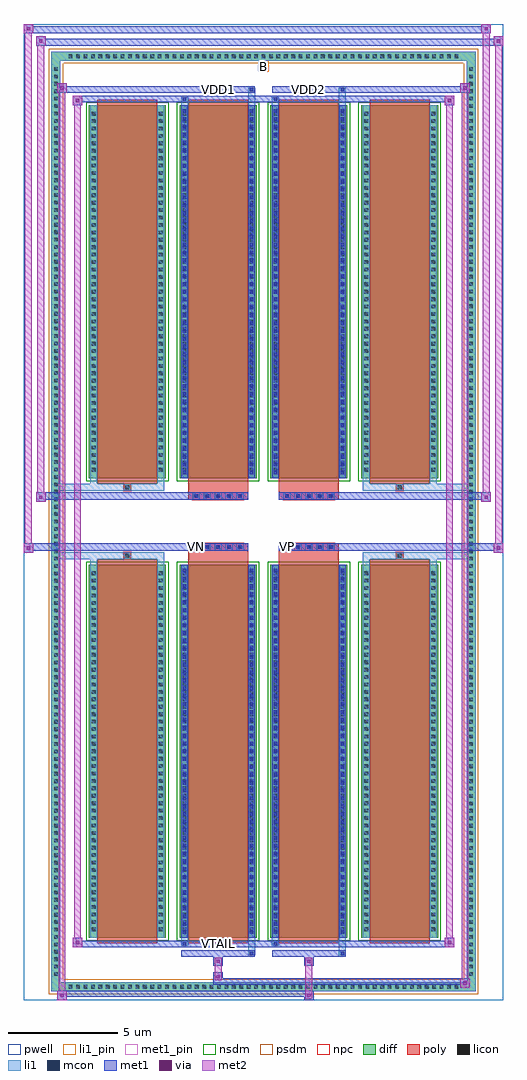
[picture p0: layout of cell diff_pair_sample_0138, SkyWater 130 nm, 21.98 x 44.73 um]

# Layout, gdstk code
import gdstk
lib = gdstk.Library(unit=1e-6, precision=5e-09)
def R(c, l, rs):  # rectangles x0, y0, x1, y1
    for r in rs: c.add(gdstk.rectangle(r[:2], r[2:], *l))
def A(c, l, x, y, w, h, nx, ny, dx, dy):  # array of equal rectangles
    R(c, l, [(x+i*dx, y+j*dy, x+i*dx+w, y+j*dy+h) for i in range(nx) for j in range(ny)])
def P(c, l, *ps):  # polygons
    for p in ps: c.add(gdstk.Polygon(p, *l))
pwell = (64, 44)
diff = (65, 20)
poly = (66, 20)
licon = (66, 44)
li1_pin = (67, 16)
li1 = (67, 20)
mcon = (67, 44)
met1_pin = (68, 16)
met1 = (68, 20)
via = (68, 44)
met2 = (69, 20)
nsdm = (93, 44)
psdm = (94, 20)
npc = (95, 20)

diff_pair_sample_0138 = lib.new_cell('diff_pair_sample_0138')
R(diff_pair_sample_0138, pwell, [(-10.99,-21.93,10.99,22.8), (-8.31,-20.12,-0.01,-0.8), (0.01,-20.12,8.31,-0.8), (-8.31,0.8,-0.01,20.12), (0.01,0.8,8.31,20.12)])
A(diff_pair_sample_0138, diff, -9.045, -21.53, 0.41, 0.41, 53, 2, 0.34, 42.65)
A(diff_pair_sample_0138, diff, -9.72, -20.945, 0.41, 0.41, 1, 123, 0, 0.34)
A(diff_pair_sample_0138, diff, 9.31, -20.945, 0.41, 0.41, 1, 123, 0, 0.34)
A(diff_pair_sample_0138, diff, -8, -19.075, 3.52, 17.09, 4, 2, 4.16, 21.06)
R(diff_pair_sample_0138, diff, [(-9.045,-21.53,9.045,-21.12), (-9.72,-20.945,-9.31,20.945), (9.31,-20.945,9.72,20.945), (-9.045,21.12,9.045,21.53)])
P(diff_pair_sample_0138, diff, [(9.72,21.53),(-9.72,21.53),(-9.72,-21.12),(-9.31,-21.12),(-9.31,21.12),(9.31,21.12),(9.31,-21.12),(-9.31,-21.12),(-9.72,-21.12),(-9.72,-21.53),(9.72,-21.53)])
A(diff_pair_sample_0138, poly, -7.61, -19.325, 2.74, 17.59, 4, 2, 4.16, 21.06)
A(diff_pair_sample_0138, poly, -3.245, -1.33, 0.33, 0.33, 5, 2, 0.5, 2.33)
A(diff_pair_sample_0138, poly, 0.915, -1.33, 0.33, 0.33, 5, 2, 0.5, 2.33)
R(diff_pair_sample_0138, poly, [(-6.405,-1.735,-6.075,-1.405), (-6.405,-1.735,-6.075,-1.405), (-3.45,-1.735,-0.71,-1.33), (0.71,-1.735,3.45,-1.33), (6.075,-1.735,6.405,-1.405), (6.075,-1.735,6.405,-1.405), (-3.45,-1.33,-0.71,-1), (0.71,-1.33,3.45,-1), (-3.45,1,-0.71,1.33), (0.71,1,3.45,1.33), (-3.45,1.33,-0.71,1.735), (0.71,1.33,3.45,1.735), (-6.405,1.405,-6.075,1.735), (-6.405,1.405,-6.075,1.735), (6.075,1.405,6.405,1.735), (6.075,1.405,6.405,1.735)])
A(diff_pair_sample_0138, licon, -8.925, -21.41, 0.17, 0.17, 53, 2, 0.34, 42.65)
A(diff_pair_sample_0138, licon, -9.6, -20.825, 0.17, 0.17, 1, 123, 0, 0.34)
A(diff_pair_sample_0138, licon, 9.43, -20.825, 0.17, 0.17, 1, 123, 0, 0.34)
A(diff_pair_sample_0138, licon, -7.86, -18.775, 0.17, 0.17, 1, 49, 0, 0.34)
A(diff_pair_sample_0138, licon, -4.79, -18.775, 0.17, 0.17, 1, 49, 0, 0.34)
A(diff_pair_sample_0138, licon, -3.7, -18.775, 0.17, 0.17, 1, 49, 0, 0.34)
A(diff_pair_sample_0138, licon, -0.63, -18.775, 0.17, 0.17, 1, 49, 0, 0.34)
A(diff_pair_sample_0138, licon, 0.46, -18.775, 0.17, 0.17, 1, 49, 0, 0.34)
A(diff_pair_sample_0138, licon, 3.53, -18.775, 0.17, 0.17, 1, 49, 0, 0.34)
A(diff_pair_sample_0138, licon, 4.62, -18.775, 0.17, 0.17, 1, 49, 0, 0.34)
A(diff_pair_sample_0138, licon, 7.69, -18.775, 0.17, 0.17, 1, 49, 0, 0.34)
A(diff_pair_sample_0138, licon, -3.165, -1.25, 0.17, 0.17, 5, 2, 0.5, 2.33)
A(diff_pair_sample_0138, licon, 0.995, -1.25, 0.17, 0.17, 5, 2, 0.5, 2.33)
A(diff_pair_sample_0138, licon, -7.86, 2.285, 0.17, 0.17, 1, 49, 0, 0.34)
A(diff_pair_sample_0138, licon, -4.79, 2.285, 0.17, 0.17, 1, 49, 0, 0.34)
A(diff_pair_sample_0138, licon, -3.7, 2.285, 0.17, 0.17, 1, 49, 0, 0.34)
A(diff_pair_sample_0138, licon, -0.63, 2.285, 0.17, 0.17, 1, 49, 0, 0.34)
A(diff_pair_sample_0138, licon, 0.46, 2.285, 0.17, 0.17, 1, 49, 0, 0.34)
A(diff_pair_sample_0138, licon, 3.53, 2.285, 0.17, 0.17, 1, 49, 0, 0.34)
A(diff_pair_sample_0138, licon, 4.62, 2.285, 0.17, 0.17, 1, 49, 0, 0.34)
A(diff_pair_sample_0138, licon, 7.69, 2.285, 0.17, 0.17, 1, 49, 0, 0.34)
R(diff_pair_sample_0138, licon, [(-6.325,-1.655,-6.155,-1.485), (6.155,-1.655,6.325,-1.485), (-6.325,1.485,-6.155,1.655), (6.155,1.485,6.325,1.655)])
R(diff_pair_sample_0138, li1_pin, [(-0.25,20.62,0.25,21.12)])
A(diff_pair_sample_0138, li1, -9.005, -21.49, 0.33, 0.33, 53, 2, 0.34, 42.65)
A(diff_pair_sample_0138, li1, -9.68, -20.905, 0.33, 0.33, 1, 123, 0, 0.34)
A(diff_pair_sample_0138, li1, 9.35, -20.905, 0.33, 0.33, 1, 123, 0, 0.34)
A(diff_pair_sample_0138, li1, -3.7, -18.895, 0.17, 0.17, 1, 47, 0, 0.36)
A(diff_pair_sample_0138, li1, -0.63, -18.895, 0.17, 0.17, 1, 47, 0, 0.36)
A(diff_pair_sample_0138, li1, 0.46, -18.895, 0.17, 0.17, 1, 47, 0, 0.36)
A(diff_pair_sample_0138, li1, 3.53, -18.895, 0.17, 0.17, 1, 47, 0, 0.36)
A(diff_pair_sample_0138, li1, -7.94, -18.855, 0.33, 0.33, 1, 49, 0, 0.34)
A(diff_pair_sample_0138, li1, -4.87, -18.855, 0.33, 0.33, 1, 49, 0, 0.34)
A(diff_pair_sample_0138, li1, -3.78, -18.855, 0.33, 0.33, 1, 49, 0, 0.34)
A(diff_pair_sample_0138, li1, -0.71, -18.855, 0.33, 0.33, 1, 49, 0, 0.34)
A(diff_pair_sample_0138, li1, 0.38, -18.855, 0.33, 0.33, 1, 49, 0, 0.34)
A(diff_pair_sample_0138, li1, 3.45, -18.855, 0.33, 0.33, 1, 49, 0, 0.34)
A(diff_pair_sample_0138, li1, 4.54, -18.855, 0.33, 0.33, 1, 49, 0, 0.34)
A(diff_pair_sample_0138, li1, 7.61, -18.855, 0.33, 0.33, 1, 49, 0, 0.34)
A(diff_pair_sample_0138, li1, -3.245, -1.33, 0.33, 0.33, 5, 2, 0.5, 2.33)
A(diff_pair_sample_0138, li1, 0.915, -1.33, 0.33, 0.33, 5, 2, 0.5, 2.33)
A(diff_pair_sample_0138, li1, -3.7, 2.165, 0.17, 0.17, 1, 47, 0, 0.36)
A(diff_pair_sample_0138, li1, -0.63, 2.165, 0.17, 0.17, 1, 47, 0, 0.36)
A(diff_pair_sample_0138, li1, 0.46, 2.165, 0.17, 0.17, 1, 47, 0, 0.36)
A(diff_pair_sample_0138, li1, 3.53, 2.165, 0.17, 0.17, 1, 47, 0, 0.36)
A(diff_pair_sample_0138, li1, -7.94, 2.205, 0.33, 0.33, 1, 49, 0, 0.34)
A(diff_pair_sample_0138, li1, -4.87, 2.205, 0.33, 0.33, 1, 49, 0, 0.34)
A(diff_pair_sample_0138, li1, -3.78, 2.205, 0.33, 0.33, 1, 49, 0, 0.34)
A(diff_pair_sample_0138, li1, -0.71, 2.205, 0.33, 0.33, 1, 49, 0, 0.34)
A(diff_pair_sample_0138, li1, 0.38, 2.205, 0.33, 0.33, 1, 49, 0, 0.34)
A(diff_pair_sample_0138, li1, 3.45, 2.205, 0.33, 0.33, 1, 49, 0, 0.34)
A(diff_pair_sample_0138, li1, 4.54, 2.205, 0.33, 0.33, 1, 49, 0, 0.34)
A(diff_pair_sample_0138, li1, 7.61, 2.205, 0.33, 0.33, 1, 49, 0, 0.34)
R(diff_pair_sample_0138, li1, [(-9.72,-21.53,-9.31,-21.12), (-9.72,-21.53,-9.31,-21.12), (-9.31,-21.53,9.31,-21.12), (9.31,-21.53,9.72,-21.12), (9.31,-21.53,9.72,-21.12), (-9.72,-21.12,-9.31,21.12), (9.31,-21.12,9.72,21.12), (-0.71,-19.88,-0.38,-19.075), (-0.63,-19.88,-0.46,-19.71), (3.45,-19.88,3.78,-19.075), (3.53,-19.88,3.7,-19.71), (-3.78,-19.45,-3.45,-19.075), (-3.7,-19.45,-3.53,-19.28), (0.38,-19.45,0.71,-19.075), (0.46,-19.45,0.63,-19.28), (-7.94,-19.075,-7.61,-1.985), (-4.87,-19.075,-4.54,-1.985), (-3.78,-19.075,-3.45,-1.985), (-0.71,-19.075,-0.38,-1.985), (0.38,-19.075,0.71,-1.985), (3.45,-19.075,3.78,-1.985), (4.54,-19.075,4.87,-1.985), (7.61,-19.075,7.94,-1.985), (-3.7,-18.895,-3.53,-2.165), (-0.63,-18.895,-0.46,-2.165), (0.46,-18.895,0.63,-2.165), (3.53,-18.895,3.7,-2.165), (-7.94,-1.985,-7.61,-1.405), (-4.87,-1.985,-4.54,-1.405), (4.54,-1.985,4.87,-1.405), (7.61,-1.985,7.94,-1.405), (-9.72,-1.735,-6.405,-1.405), (-7.94,-1.735,-6.405,-1.405), (-6.405,-1.735,-6.075,-1.405), (-6.075,-1.735,-4.54,-1.405), (4.54,-1.735,6.075,-1.405), (6.075,-1.735,6.405,-1.405), (6.075,-1.735,9.72,-1.405), (6.405,-1.735,7.94,-1.405), (-9.72,1.405,-6.405,1.735), (-7.94,1.405,-6.405,1.735), (-7.94,1.405,-7.61,1.985), (-6.405,1.405,-6.075,1.735), (-6.075,1.405,-4.54,1.735), (-4.87,1.405,-4.54,1.985), (4.54,1.405,6.075,1.735), (4.54,1.405,4.87,1.985), (6.075,1.405,6.405,1.735), (6.075,1.405,9.72,1.735), (6.405,1.405,7.94,1.735), (7.61,1.405,7.94,1.985), (-7.94,1.985,-7.61,19.075), (-4.87,1.985,-4.54,19.075), (-3.78,1.985,-3.45,19.075), (-0.71,1.985,-0.38,19.075), (0.38,1.985,0.71,19.075), (3.45,1.985,3.78,19.075), (4.54,1.985,4.87,19.075), (7.61,1.985,7.94,19.075), (-3.7,2.165,-3.53,18.895), (-0.63,2.165,-0.46,18.895), (0.46,2.165,0.63,18.895), (3.53,2.165,3.7,18.895), (-3.78,19.075,-3.45,19.45), (-0.71,19.075,-0.38,19.88), (0.38,19.075,0.71,19.45), (3.45,19.075,3.78,19.88), (-3.7,19.28,-3.53,19.45), (0.46,19.28,0.63,19.45), (-0.63,19.71,-0.46,19.88), (3.53,19.71,3.7,19.88), (-9.72,21.12,-9.31,21.53), (-9.72,21.12,-9.31,21.53), (-9.31,21.12,9.31,21.53), (9.31,21.12,9.72,21.53), (9.31,21.12,9.72,21.53)])
A(diff_pair_sample_0138, mcon, -3.7, -18.895, 0.17, 0.17, 1, 47, 0, 0.36)
A(diff_pair_sample_0138, mcon, -0.63, -18.895, 0.17, 0.17, 1, 47, 0, 0.36)
A(diff_pair_sample_0138, mcon, 0.46, -18.895, 0.17, 0.17, 1, 47, 0, 0.36)
A(diff_pair_sample_0138, mcon, 3.53, -18.895, 0.17, 0.17, 1, 47, 0, 0.36)
A(diff_pair_sample_0138, mcon, -3.165, -1.25, 0.17, 0.17, 5, 2, 0.5, 2.33)
A(diff_pair_sample_0138, mcon, 0.995, -1.25, 0.17, 0.17, 5, 2, 0.5, 2.33)
A(diff_pair_sample_0138, mcon, -3.7, 2.165, 0.17, 0.17, 1, 47, 0, 0.36)
A(diff_pair_sample_0138, mcon, -0.63, 2.165, 0.17, 0.17, 1, 47, 0, 0.36)
A(diff_pair_sample_0138, mcon, 0.46, 2.165, 0.17, 0.17, 1, 47, 0, 0.36)
A(diff_pair_sample_0138, mcon, 3.53, 2.165, 0.17, 0.17, 1, 47, 0, 0.36)
R(diff_pair_sample_0138, mcon, [(-0.63,-19.88,-0.46,-19.71), (3.53,-19.88,3.7,-19.71), (-3.7,-19.45,-3.53,-19.28), (0.46,-19.45,0.63,-19.28), (-3.7,19.28,-3.53,19.45), (0.46,19.28,0.63,19.45), (-0.63,19.71,-0.46,19.88), (3.53,19.71,3.7,19.88)])
R(diff_pair_sample_0138, met1_pin, [(-2.215,-19.49,-1.945,-19.22), (-3.215,-1.29,-2.945,-1.02), (0.945,-1.29,1.215,-1.02), (-2.215,19.67,-1.945,19.94), (1.945,19.67,2.215,19.94)])
A(diff_pair_sample_0138, met1, -3.76, -18.955, 0.29, 0.29, 1, 47, 0, 0.36)
A(diff_pair_sample_0138, met1, -0.69, -18.955, 0.29, 0.29, 1, 47, 0, 0.36)
A(diff_pair_sample_0138, met1, 0.4, -18.955, 0.29, 0.29, 1, 47, 0, 0.36)
A(diff_pair_sample_0138, met1, 3.47, -18.955, 0.29, 0.29, 1, 47, 0, 0.36)
A(diff_pair_sample_0138, met1, -3.225, -1.31, 0.29, 0.29, 5, 2, 0.5, 2.33)
A(diff_pair_sample_0138, met1, 0.935, -1.31, 0.29, 0.29, 5, 2, 0.5, 2.33)
A(diff_pair_sample_0138, met1, -3.76, 2.105, 0.29, 0.29, 1, 47, 0, 0.36)
A(diff_pair_sample_0138, met1, -0.69, 2.105, 0.29, 0.29, 1, 47, 0, 0.36)
A(diff_pair_sample_0138, met1, 0.4, 2.105, 0.29, 0.29, 1, 47, 0, 0.36)
A(diff_pair_sample_0138, met1, 3.47, 2.105, 0.29, 0.29, 1, 47, 0, 0.36)
R(diff_pair_sample_0138, met1, [(-9.45,-21.93,-9.02,-21.5), (1.865,-21.93,2.295,-21.5), (-9.45,-21.79,2.295,-21.5), (9.02,-21.36,9.45,-20.93), (-2.295,-21.22,9.45,-20.93), (-2.295,-21.08,-1.865,-20.65), (-2.295,-20.37,-1.865,-19.94), (1.865,-20.37,2.295,-19.94), (-3.76,-19.94,-0.4,-19.65), (-0.69,-19.94,-0.4,-19.65), (0.4,-19.94,3.76,-19.65), (3.47,-19.94,3.76,-19.65), (-8.74,-19.51,-8.31,-19.08), (-8.74,-19.51,-3.76,-19.22), (-3.76,-19.51,-3.47,-19.22), (-3.76,-19.51,-0.4,-19.22), (-0.4,-19.51,0.4,-19.22), (0.4,-19.51,0.69,-19.22), (0.4,-19.51,3.76,-19.22), (3.76,-19.51,8.74,-19.22), (8.31,-19.51,8.74,-19.08), (-3.76,-19.075,-3.47,-1.985), (-0.69,-19.075,-0.4,-1.985), (0.4,-19.075,0.69,-1.985), (3.47,-19.075,3.76,-1.985), (-10.99,-1.43,-10.56,-1), (10.56,-1.43,10.99,-1), (-10.99,-1.33,-0.71,-1), (-3.45,-1.33,-0.71,-1), (0.71,-1.33,3.45,-1), (0.71,-1.33,10.99,-1), (-10.42,0.9,-9.99,1.33), (9.99,0.9,10.42,1.33), (-10.42,1,-3.45,1.33), (-3.45,1,-0.71,1.33), (0.71,1,3.45,1.33), (3.45,1,10.42,1.33), (-3.76,1.985,-3.47,19.075), (-0.69,1.985,-0.4,19.075), (0.4,1.985,0.69,19.075), (3.47,1.985,3.76,19.075), (-8.74,19.08,-8.31,19.51), (8.31,19.08,8.74,19.51), (-8.74,19.22,-3.76,19.51), (-3.76,19.22,-3.47,19.51), (-3.76,19.22,-0.4,19.51), (-0.4,19.22,0.4,19.51), (0.4,19.22,0.69,19.51), (0.4,19.22,3.76,19.51), (3.76,19.22,8.74,19.51), (-9.45,19.65,-9.02,20.08), (-9.45,19.65,-3.76,19.94), (-3.76,19.65,-0.4,19.94), (-0.69,19.65,-0.4,19.94), (0.4,19.65,3.76,19.94), (3.47,19.65,3.76,19.94), (3.76,19.65,9.45,19.94), (9.02,19.65,9.45,20.08), (-10.42,21.8,-9.99,22.23), (-10.42,21.8,-8.31,22.13), (-8.31,21.8,8.31,22.13), (8.31,21.8,10.99,22.13), (10.56,21.8,10.99,22.23), (-10.99,22.37,-10.56,22.8), (-10.99,22.37,-8.31,22.7), (-8.31,22.37,8.31,22.7), (8.31,22.37,10.42,22.7), (9.99,22.37,10.42,22.8)])
R(diff_pair_sample_0138, via, [(-9.31,-21.79,-9.16,-21.64), (2.005,-21.79,2.155,-21.64), (9.16,-21.22,9.31,-21.07), (-2.155,-20.94,-2.005,-20.79), (-2.155,-20.23,-2.005,-20.08), (2.005,-20.23,2.155,-20.08), (-8.6,-19.37,-8.45,-19.22), (8.45,-19.37,8.6,-19.22), (-10.85,-1.29,-10.7,-1.14), (10.7,-1.29,10.85,-1.14), (-10.28,1.04,-10.13,1.19), (10.13,1.04,10.28,1.19), (-8.6,19.22,-8.45,19.37), (8.45,19.22,8.6,19.37), (-9.31,19.79,-9.16,19.94), (9.16,19.79,9.31,19.94), (-10.28,21.94,-10.13,22.09), (10.7,21.94,10.85,22.09), (-10.85,22.51,-10.7,22.66), (10.13,22.51,10.28,22.66)])
R(diff_pair_sample_0138, met2, [(-9.45,-21.93,-9.02,-21.5), (-9.38,-21.93,-9.09,20.08), (-9.09,-21.93,-9.02,-21.5), (-9.4,-21.88,-9.07,-21.55), (1.915,-21.88,2.245,-21.55), (1.915,-21.55,2.245,-20.32), (9.02,-21.36,9.45,-20.93), (9.09,-21.36,9.38,20.08), (9.38,-21.36,9.45,-20.93), (9.07,-21.31,9.4,-20.98), (-2.245,-21.03,-1.915,-20.7), (-2.245,-20.7,-1.915,-20.32), (-2.245,-20.32,-1.915,-19.99), (1.915,-20.32,2.245,-19.99), (-8.74,-19.51,-8.31,-19.08), (-8.67,-19.51,-8.38,19.51), (-8.38,-19.51,-8.31,-19.08), (8.31,-19.51,8.74,-19.08), (8.38,-19.51,8.67,19.51), (8.67,-19.51,8.74,-19.08), (-8.69,-19.46,-8.36,-19.13), (8.36,-19.46,8.69,-19.13), (-10.99,-1.43,-10.56,-1), (-10.94,-1.43,-10.61,22.8), (-10.61,-1.43,-10.56,-1), (10.56,-1.43,10.99,-1), (10.61,-1.43,10.94,22.23), (10.94,-1.43,10.99,-1), (-10.94,-1.38,-10.61,-1.05), (10.61,-1.38,10.94,-1.05), (-10.42,0.9,-9.99,1.33), (-10.37,0.9,-10.04,22.23), (-10.04,0.9,-9.99,1.33), (9.99,0.9,10.42,1.33), (10.04,0.9,10.37,22.8), (10.37,0.9,10.42,1.33), (-10.37,0.95,-10.04,1.28), (10.04,0.95,10.37,1.28), (-8.74,19.08,-8.31,19.51), (-8.38,19.08,-8.31,19.51), (8.31,19.08,8.74,19.51), (8.67,19.08,8.74,19.51), (-8.69,19.13,-8.36,19.46), (8.36,19.13,8.69,19.46), (-9.45,19.65,-9.02,20.08), (-9.09,19.65,-9.02,20.08), (9.02,19.65,9.45,20.08), (9.38,19.65,9.45,20.08), (-9.4,19.7,-9.07,20.03), (9.07,19.7,9.4,20.03), (-10.42,21.8,-9.99,22.23), (-10.04,21.8,-9.99,22.23), (10.56,21.8,10.99,22.23), (10.94,21.8,10.99,22.23), (-10.37,21.85,-10.04,22.18), (10.61,21.85,10.94,22.18), (-10.99,22.37,-10.56,22.8), (-10.61,22.37,-10.56,22.8), (9.99,22.37,10.42,22.8), (10.37,22.37,10.42,22.8), (-10.94,22.42,-10.61,22.75), (10.04,22.42,10.37,22.75)])
A(diff_pair_sample_0138, nsdm, -8.13, -19.205, 3.78, 17.35, 4, 2, 4.16, 21.06)
P(diff_pair_sample_0138, psdm, [(9.85,21.66),(-9.85,21.66),(-9.85,-20.99),(-9.18,-20.99),(-9.18,20.99),(9.18,20.99),(9.18,-20.99),(-9.18,-20.99),(-9.85,-20.99),(-9.85,-21.66),(9.85,-21.66)])
A(diff_pair_sample_0138, npc, -3.265, -1.35, 0.37, 0.37, 5, 2, 0.5, 2.33)
A(diff_pair_sample_0138, npc, 0.895, -1.35, 0.37, 0.37, 5, 2, 0.5, 2.33)
R(diff_pair_sample_0138, npc, [(-6.425,-1.755,-6.055,-1.385), (6.055,-1.755,6.425,-1.385), (-3.265,-1.35,-2.395,-0.98), (-3.265,-1.35,-2.395,-0.98), (-2.765,-1.35,-1.895,-0.98), (-2.765,-1.35,-1.895,-0.98), (-2.265,-1.35,-1.395,-0.98), (-2.265,-1.35,-1.395,-0.98), (-1.765,-1.35,-0.895,-0.98), (-1.765,-1.35,-0.895,-0.98), (0.895,-1.35,1.765,-0.98), (0.895,-1.35,1.765,-0.98), (1.395,-1.35,2.265,-0.98), (1.395,-1.35,2.265,-0.98), (1.895,-1.35,2.765,-0.98), (1.895,-1.35,2.765,-0.98), (2.395,-1.35,3.265,-0.98), (2.395,-1.35,3.265,-0.98), (-3.265,0.98,-2.395,1.35), (-3.265,0.98,-2.395,1.35), (-2.765,0.98,-1.895,1.35), (-2.765,0.98,-1.895,1.35), (-2.265,0.98,-1.395,1.35), (-2.265,0.98,-1.395,1.35), (-1.765,0.98,-0.895,1.35), (-1.765,0.98,-0.895,1.35), (0.895,0.98,1.765,1.35), (0.895,0.98,1.765,1.35), (1.395,0.98,2.265,1.35), (1.395,0.98,2.265,1.35), (1.895,0.98,2.765,1.35), (1.895,0.98,2.765,1.35), (2.395,0.98,3.265,1.35), (2.395,0.98,3.265,1.35), (-6.425,1.385,-6.055,1.755), (6.055,1.385,6.425,1.755)])
diff_pair_sample_0138.add(gdstk.Label('VTAIL', (-2.08,-19.355), layer=68, texttype=5))
diff_pair_sample_0138.add(gdstk.Label('VN', (-3.08,-1.155), layer=68, texttype=5))
diff_pair_sample_0138.add(gdstk.Label('VP', (1.08,-1.155), layer=68, texttype=5))
diff_pair_sample_0138.add(gdstk.Label('B', (0,20.87), layer=67, texttype=5))
diff_pair_sample_0138.add(gdstk.Label('VDD2', (2.08,19.805), layer=68, texttype=5))
diff_pair_sample_0138.add(gdstk.Label('VDD1', (-2.08,19.805), layer=68, texttype=5))

lib.write_gds('diff_pair_sample_0138.gds')
